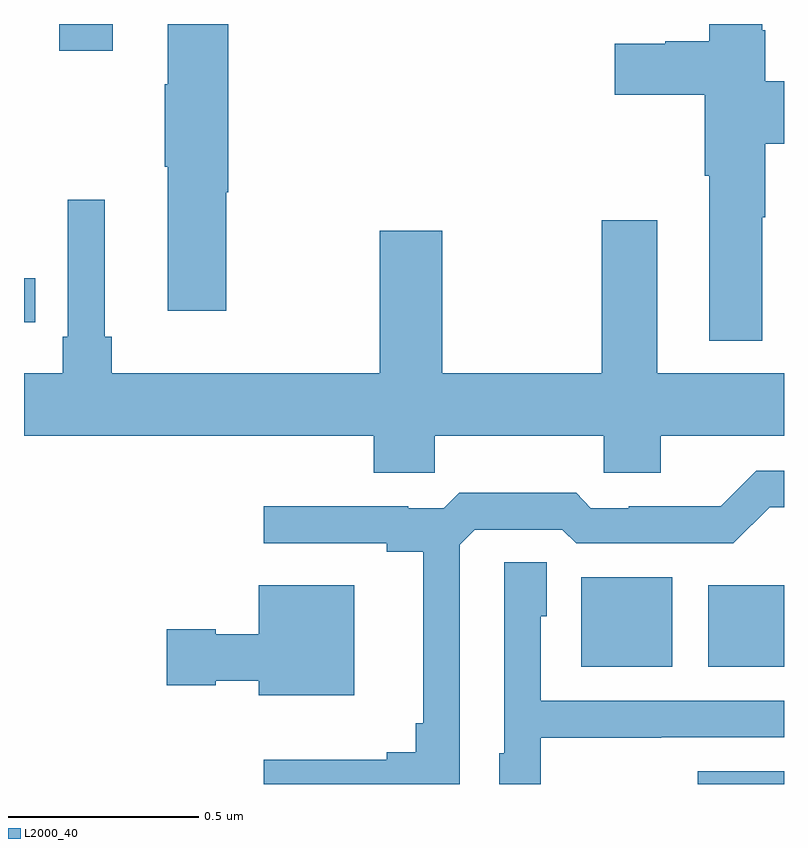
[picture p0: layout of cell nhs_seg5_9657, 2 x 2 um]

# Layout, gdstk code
import gdstk
lib = gdstk.Library(unit=1e-6, precision=1e-09)
def R(c, l, rs):  # rectangles x0, y0, x1, y1
    for r in rs: c.add(gdstk.rectangle(r[:2], r[2:], *l))
def P(c, l, *ps):  # polygons
    for p in ps: c.add(gdstk.Polygon(p, *l))
L2000_40 = (2000, 40)

nhs_seg5_9657 = lib.new_cell('nhs_seg5_9657')
R(nhs_seg5_9657, L2000_40, [(237.773,899.799,238,899.832), (237.467,900.107,237.706,900.343), (237.8,900.107,238,900.322), (236,901.014,236.03,901.13), (236.093,901.728,236.233,901.799)])
P(nhs_seg5_9657, L2000_40, [(236.532,901.356),(236.537,901.356),(236.537,901.799),(236.378,901.799),(236.378,901.64),(236.371,901.64),(236.371,901.423),(236.378,901.423),(236.378,901.044),(236.532,901.044)],
  [(237.943,901.291),(237.951,901.291),(237.951,901.484),(238,901.484),(238,901.648),(237.951,901.648),(237.951,901.782),(237.943,901.782),(237.943,901.799),(237.803,901.799),(237.803,901.754),(237.687,901.754),(237.687,901.747),(237.555,901.747),(237.555,901.613),(237.791,901.613),(237.791,901.4),(237.803,901.4),(237.803,900.965),(237.943,900.965)],
  [(237.081,900.716),(237.526,900.716),(237.526,900.618),(237.676,900.618),(237.676,900.716),(238,900.716),(238,900.88),(237.667,900.88),(237.667,901.282),(237.52,901.282),(237.52,900.88),(237.1,900.88),(237.1,901.255),(236.936,901.255),(236.936,900.88),(236.231,900.88),(236.231,900.976),(236.212,900.976),(236.212,901.336),(236.115,901.336),(236.115,900.976),(236.102,900.976),(236.102,900.88),(236,900.88),(236,900.716),(236.921,900.716),(236.921,900.618),(237.081,900.618)],
  [(237.147,900.429),(237.186,900.468),(237.417,900.468),(237.453,900.432),(237.867,900.432),(237.962,900.527),(238,900.527),(238,900.624),(237.927,900.624),(237.833,900.53),(237.592,900.53),(237.592,900.525),(237.492,900.525),(237.453,900.565),(237.145,900.565),(237.105,900.525),(237.011,900.525),(237.011,900.53),(236.631,900.53),(236.631,900.432),(236.954,900.432),(236.954,900.41),(237.05,900.41),(237.05,899.959),(237.031,899.959),(237.031,899.882),(236.954,899.882),(236.954,899.863),(236.631,899.863),(236.631,899.799),(237.147,899.799)],
  [(237.36,899.921),(237.677,899.921),(237.677,899.922),(238,899.922),(238,900.018),(237.36,900.018),(237.36,900.24),(237.376,900.24),(237.376,900.383),(237.264,900.383),(237.264,899.88),(237.251,899.88),(237.251,899.799),(237.36,899.799)],
  [(236.869,900.322),(236.618,900.322),(236.618,900.193),(236.505,900.193),(236.505,900.206),(236.376,900.206),(236.376,900.059),(236.505,900.059),(236.505,900.071),(236.618,900.071),(236.618,900.032),(236.869,900.032)])

lib.write_gds('nhs_seg5_9657.gds')
